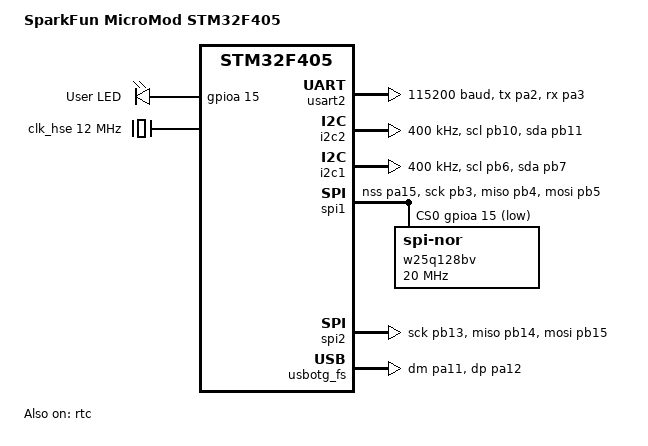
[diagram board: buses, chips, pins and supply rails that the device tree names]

/dts-v1/;
#include <st/f4/stm32f405Xg.dtsi>
#include <st/f4/stm32f405rgtx-pinctrl.dtsi>
#include "feather_connector.dtsi"

/ {
	model = "SparkFun MicroMod  STM32F405";
	compatible = "sparkfun,1_sparkfun_stm32f405", "st,stm32f405";

	chosen {
		zephyr,console = &usart2;
		zephyr,shell-uart = &usart2;
		zephyr,sram = &sram0;
		zephyr,flash = &flash0;
		zephyr,ccm = &ccm0;
	};

	leds {
		compatible = "gpio-leds";
		led: led {
			gpios = <&gpioa 15 GPIO_ACTIVE_HIGH>;
			label = "User LED";
		};
	};

	aliases {
		led0 = &led;
		spi-flash0 = &w25q128bv;
	};
};

&clk_lsi {
	status = "okay";
};

&clk_hse {
	clock-frequency = <DT_FREQ_M(12)>;
	status = "okay";
};

&pll {
	div-m = <12>;
	mul-n = <336>;
	div-p = <2>;
	div-q = <7>;
	clocks = <&clk_hse>;
	status = "okay";
};

&rcc {
	clocks = <&pll>;
	clock-frequency = <DT_FREQ_M(168)>;
	ahb-prescaler = <1>;
	apb1-prescaler = <4>;
	apb2-prescaler = <2>;
};

&usart2 {
	pinctrl-0 = <&usart2_tx_pa2 &usart2_rx_pa3>;
	pinctrl-names = "default";
	current-speed = <115200>;
	status = "okay";
};

&i2c2 {
	pinctrl-0 = <&i2c2_scl_pb10 &i2c2_sda_pb11>;
	pinctrl-names = "default";
	status = "okay";
	clock-frequency = <I2C_BITRATE_FAST>;
};

&i2c1 {
	pinctrl-0 = <&i2c1_scl_pb6 &i2c1_sda_pb7>;
	pinctrl-names = "default";
	status = "okay";
	clock-frequency = <I2C_BITRATE_FAST>;
};

&spi1_nss_pa15 { slew-rate = "very-high-speed"; };

&spi1 {
	pinctrl-0 = <&spi1_nss_pa15 &spi1_sck_pb3
		     &spi1_miso_pb4 &spi1_mosi_pb5>;
	pinctrl-names = "default";
	status = "okay";
	cs-gpios = <&gpioa 15 GPIO_ACTIVE_LOW>;
	w25q128bv: w25q128bv@0 {
		compatible ="jedec,spi-nor";
		size = <0x8000000>;
		reg = <0>;
		spi-max-frequency = <20000000>;
		status = "okay";
		jedec-id = [ef 40 18];
	};
};


&spi2 {
	pinctrl-0 = <&spi2_sck_pb13 &spi2_miso_pb14 &spi2_mosi_pb15>;
	pinctrl-names = "default";
	status = "okay";
};

&rtc {
	clocks = <&rcc STM32_CLOCK_BUS_APB1 0x10000000>,
		 <&rcc STM32_SRC_LSI RTC_SEL(2)>;
	status = "okay";
};

zephyr_udc0: &usbotg_fs {
	pinctrl-0 = <&usb_otg_fs_dm_pa11 &usb_otg_fs_dp_pa12>;
	pinctrl-names = "default";
	status = "okay";
};
